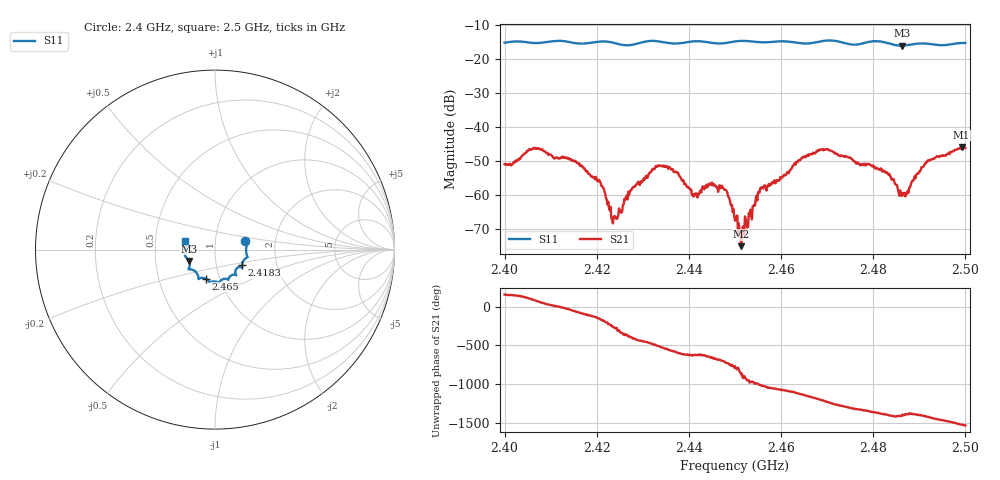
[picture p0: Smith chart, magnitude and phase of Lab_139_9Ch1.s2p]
# Hz S RI R 50
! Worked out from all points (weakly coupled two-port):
!   601 points, 2.4 GHz to 2.5 GHz, reference 50 ohm
!   highest |S21| = -45.81 dB at 2.4992 GHz (marker M1); lowest = -75.1 dB at 2.4513 GHz (marker M2)
!   lowest |S11| = -16.0 dB at 2.4862 GHz (marker M3), VSWR 1.37, Z = 37.1 - j4.83 ohm
!   |S11| at or under -10 dB: start of sweep to end of sweep
!   S12 and S22 are empty: the file has one direction only
!   S11 on the Smith chart (normalised r, x): 2.4 GHz: 1.40, +0.13; 2.4183 GHz: 1.33, -0.24; 2.465 GHz: 0.86, -0.29; 2.5 GHz: 0.71, +0.07
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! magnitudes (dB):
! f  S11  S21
! 2.4 GHz  -15.1  -50.9
! 2.4068 GHz  -15.2  -46.4
! 2.4167 GHz  -15.4  -51.5
! 2.4183 GHz  -15.2  -53.7
! 2.421 GHz  -14.8  -57.3
! 2.424 GHz  -15.3  -66.3
! 2.4277 GHz  -15.8  -58.0
! 2.4333 GHz  -14.7  -51.3
! 2.4375 GHz  -15.4  -53.5
! 2.4413 GHz  -14.7  -59.5
! 2.4477 GHz  -15.3  -58.4
! 2.45 GHz  -14.8  -67.5
! 2.4513 GHz  -14.6  -75.1
! 2.4555 GHz  -15.0  -57.9
! 2.465 GHz  -15.4  -48.6
! 2.4667 GHz  -15.2  -48.0
! 2.4703 GHz  -14.5  -46.8
! 2.4833 GHz  -15.3  -54.0
! 2.4862 GHz  -16.0  -60.3
! 2.4917 GHz  -15.4  -50.3
! 2.4992 GHz  -15.2  -45.8
! 2.5 GHz  -15.2  -46.1
